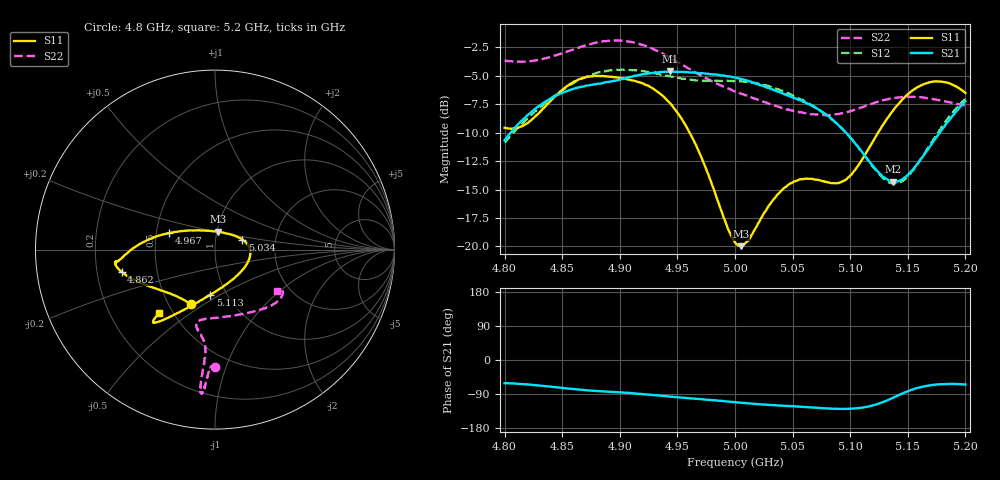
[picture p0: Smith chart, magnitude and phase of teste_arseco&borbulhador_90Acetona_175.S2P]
! Network Analyzer HP8722D
! Hewlett-Packard
! Data name: Linha & Wilkinson
! Saver's name: Rodrigo Anjos
! Comments: Teste da utilização de aquisição
! continua pelo VNA HP8722D
! Time and date: 17/4/2025 12:30
!  Frequency  S11  S21  S12  S22
# HZ  S  MA R 50
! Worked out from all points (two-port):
!   401 points, 4.8 GHz to 5.2 GHz, reference 50 ohm
!   highest |S21| = -4.60 dB at 4.944 GHz (marker M1); lowest = -14.3 dB at 5.137 GHz (marker M2)
!   |S21| within 3 dB of the highest: 4.831 GHz to 5.066 GHz (235.5 MHz wide, 4.76 % of centre); 5.196549 GHz to end of sweep
!   lowest |S11| = -20.0 dB at 5.005 GHz (marker M3), VSWR 1.22, Z = 50.5 + j10.1 ohm
!   |S11| at or under -10 dB: 4.961 GHz to 5.124 GHz (163.5 MHz wide, 3.24 % of centre)
!   |S22| runs from -8.5 to -1.9 dB; largest |S21 - S12| = 0.88
!   S11 on the Smith chart (normalised r, x): 4.8 GHz: 0.64, -0.44; 4.862 GHz: 0.31, -0.11; 4.967 GHz: 0.58, +0.12; 5.034 GHz: 1.35, +0.16; 5.113 GHz: 0.84, -0.45; 5.2 GHz: 0.42, -0.38
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4.8e9  0.3326 -114.1  0.2925 -61.1  0.2855 -175.2  0.6551 -89.9
4.819e9  0.3469 -134.1  0.3736 -64.4  0.3619 -174.0  0.6514 -91.6
4.862e9  0.5349 -166.5  0.4975 -77.5  0.531 -177.2  0.7432 -93.9
4.867e9  0.5481 -168.6  0.5034 -78.9  0.5457 -178.1  0.7574 -94.1
4.9e9  0.5504 -173.0  0.5405 -85.4  0.5976 175.4  0.8034 -95.5
4.934e9  0.4743 -179.3  0.5835 -93.7  0.5738 171.5  0.7166 -96.0
4.944e9  0.4247 176.1  0.5886 -96.6  0.5587 171.7  0.6748 -95.8
4.967e9  0.2726 160.2  0.5803 -102.5  0.5358 173.8  0.5763 -95.3
5e9  0.1041 98.7  0.5531 -111.4  0.5344 176.1  0.4803 -99.5
5.005e9  0.1002 81.3  0.5456 -112.7  0.5319 175.9  0.4699 -100.7
5.013e9  0.1086 56.7  0.5313 -114.7  0.5266 175.8  0.4554 -102.5
5.034e9  0.1621 20.3  0.486 -119.3  0.497 174.6  0.417 -103.8
5.049e9  0.1897 5.0  0.4539 -121.8  0.463 174.0  0.3962 -100.3
5.067e9  0.1983 -14.0  0.4143 -125.3  0.4162 173.5  0.3806 -90.8
5.093e9  0.193 -58.4  0.3293 -128.9  0.3291 174.1  0.3852 -70.8
5.113e9  0.2537 -96.1  0.2493 -124.5  0.2491 -179.9  0.4141 -55.1
5.134e9  0.376 -117.3  0.1947 -104.0  0.191 -157.0  0.4458 -43.1
5.137e9  0.3943 -119.1  0.1924 -99.9  0.1896 -152.2  0.4487 -41.9
5.15e9  0.4664 -125.0  0.2061 -82.5  0.2028 -132.1  0.4549 -36.9
5.168e9  0.5253 -129.4  0.2695 -67.5  0.2734 -113.6  0.447 -32.5
5.184e9  0.5251 -131.0  0.3501 -63.2  0.3611 -107.4  0.4329 -31.3
5.2e9  0.4728 -131.4  0.4346 -64.6  0.4459 -106.7  0.4162 -33.6
